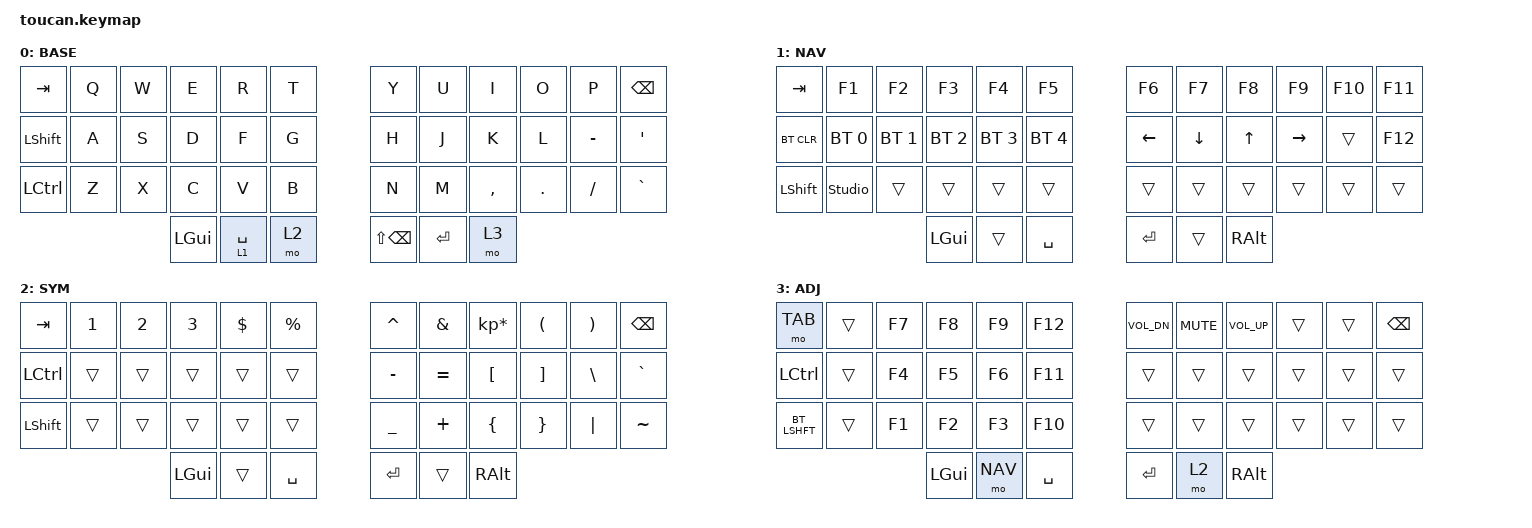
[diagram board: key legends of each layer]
#include <behaviors.dtsi>
#include <dt-bindings/zmk/bt.h>
#include <dt-bindings/zmk/keys.h>

#define BASE 0
#define NAV  1
#define SYM  2
#define ADJ  3

/ {
    conditional_layers {
        compatible = "zmk,conditional-layers";

        tri_layer {
            if-layers = <1 2>;
            then-layer = <3>;
        };
    };

    keymap {
        compatible = "zmk,keymap";

        base {
            display-name = "BASE";
            bindings = <
&kp TAB         &kp Q  &kp W  &kp E     &kp R        &kp T  &kp Y              &kp U      &kp I      &kp O    &kp P      &kp BSPC
&kp LEFT_SHIFT  &kp A  &kp S  &kp D     &kp F        &kp G  &kp H              &kp J      &kp K      &kp L    &kp MINUS  &kp SQT
&kp LCTRL       &kp Z  &kp X  &kp C     &kp V        &kp B  &kp N              &kp M      &kp COMMA  &kp DOT  &kp FSLH   &kp GRAVE
                              &kp LGUI  &lt 1 SPACE  &mo 2  &kp LS(BACKSPACE)  &kp ENTER  &mo 3
            >;
        };

        nav {
            display-name = "NAV";
            bindings = <
&kp TAB     &kp F1          &kp F2        &kp F3        &kp F4        &kp F5        &kp F6    &kp F7    &kp F8    &kp F9     &kp F10  &kp F11
&bt BT_CLR  &bt BT_SEL 0    &bt BT_SEL 1  &bt BT_SEL 2  &bt BT_SEL 3  &bt BT_SEL 4  &kp LEFT  &kp DOWN  &kp UP    &kp RIGHT  &trans   &kp F12
&kp LSHFT   &studio_unlock  &trans        &trans        &trans        &trans        &trans    &trans    &trans    &trans     &trans   &trans
                                          &kp LGUI      &trans        &kp SPACE     &kp RET   &trans    &kp RALT
            >;
        };

        sym {
            display-name = "SYM";
            bindings = <
&kp TAB    &kp N1  &kp N2  &kp N3    &kp DLLR  &kp PRCNT  &kp CARET  &kp AMPS   &kp KP_MULTIPLY  &kp LPAR  &kp RPAR  &kp BSPC
&kp LCTRL  &trans  &trans  &trans    &trans    &trans     &kp MINUS  &kp EQUAL  &kp LBKT         &kp RBKT  &kp BSLH  &kp GRAVE
&kp LSHFT  &trans  &trans  &trans    &trans    &trans     &kp UNDER  &kp PLUS   &kp LBRC         &kp RBRC  &kp PIPE  &kp TILDE
                           &kp LGUI  &trans    &kp SPACE  &kp RET    &trans     &kp RALT
            >;
        };

        adj {
            display-name = "ADJ";
            bindings = <
&mo TAB    &trans  &kp F7  &kp F8    &kp F9   &kp F12    &kp C_VOL_DN  &kp C_MUTE  &kp C_VOL_UP  &trans  &trans  &kp BSPC
&kp LCTRL  &trans  &kp F4  &kp F5    &kp F6   &kp F11    &trans        &trans      &trans        &trans  &trans  &trans
&bt LSHFT  &trans  &kp F1  &kp F2    &kp F3   &kp F10    &trans        &trans      &trans        &trans  &trans  &trans
                           &kp LGUI  &mo NAV  &kp SPACE  &kp RET       &mo 2       &kp RALT
            >;
        };

        extra_1 { status = "reserved"; };

        extra_2 { status = "reserved"; };

        extra_3 { status = "reserved"; };
    };
};
